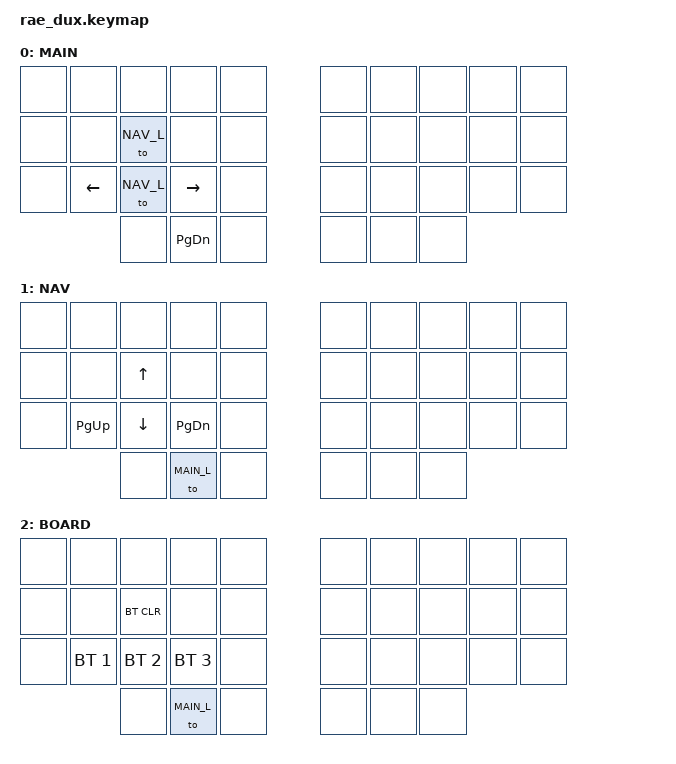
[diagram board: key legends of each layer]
/*
 * Copyright (c) 2021 The ZMK Contributors
 *
 * SPDX-License-Identifier: MIT
 */

#include <behaviors.dtsi>
#include <dt-bindings/zmk/bt.h>
#include <dt-bindings/zmk/keys.h>

&sk {
  release-after-ms = <750>;
  quick-release;
};

&sl {
  release-after-ms = <3000>;
};

&lt {
  flavor = "balanced";
};

&key_repeat {
  usage-pages = <HID_USAGE_KEY HID_USAGE_CONSUMER>;
};

#define MAIN_L   0
#define NAV_L    1
#define BOARD_L  2

/ {
  combos {
    compatible = "zmk,combos";

    // shortcut
    #define COMBO(NAME, BINDINGS, KEYPOS, TIMEOUT) \
      combo_##NAME { \
        timeout-ms = <TIMEOUT>; \
        bindings = <BINDINGS>; \
        key-positions = <KEYPOS>; \
      };

      /*                KEY POSITIONS

      ╭────────────────────╮ ╭────────────────────╮
      │  0   1   2   3   4 │ │  5   6   7   8   9 │
      │ 10  11  12  13  14 │ │ 15  16  17  18  19 │
      │ 20  21  22  23  24 │ │ 25  26  27  28  29 │
      ╰───────────╮ 30  31 │ │ 32  33  ╭──────────╯
                  ╰────────╯ ╰─────────╯           */

    COMBO(board_layer, &sl BOARD_L, 21 22 23, 100)
  };

  keymap {
    compatible = "zmk,keymap";

    // MAIN
    main_layer {
      label = "MAIN";
      bindings = <
    //╭──────────────────────────────────────────────────────────────────────────╮  ╭──────────────────────────────────────────────────────────────────────────╮
        &none           &none           &none           &none           &none           &none         &none           &none         &none           &none
        &none           &none           &to NAV_L       &none           &none           &none         &none           &none         &none           &none
        &none           &kp LEFT_ARROW  &to NAV_L       &kp RIGHT_ARROW &none           &none         &none           &none         &none           &none
    /*╰────────────────────────────╮*/  &none           &kp PAGE_DOWN   &none           &none         &none           &none     /*╭────────────────────────────╯*/
    //                             ╰─────────────────────────────────────────────╯  ╰─────────────────────────────────────────────╯
      >;  
    };

    // NAV
    nav_layer {
      label = "NAV";
      bindings = <
    //╭──────────────────────────────────────────────────────────────────────────╮  ╭──────────────────────────────────────────────────────────────────────────╮
        &none           &none           &none           &none           &none           &none         &none           &none         &none           &none
        &none           &none           &kp UP_ARROW    &none           &none           &none         &none           &none         &none           &none
        &none           &kp PAGE_UP     &kp DOWN_ARROW  &kp PAGE_DOWN   &none           &none         &none           &none         &none           &none
    /*╰────────────────────────────╮*/  &none           &to MAIN_L      &none           &none         &none           &none     /*╭────────────────────────────╯*/
    //                             ╰─────────────────────────────────────────────╯  ╰─────────────────────────────────────────────╯
      >;  
    };

    board_layer {
      label = "BOARD";
      bindings = <
    //╭──────────────────────────────────────────────────────────────────────────╮  ╭──────────────────────────────────────────────────────────────────────────╮
        &none           &none           &none           &none           &none           &none         &none           &none         &none           &none
        &none           &none           &bt BT_CLR      &none           &none           &none         &none           &none         &none           &none
        &none           &bt BT_SEL 1    &bt BT_SEL 2    &bt BT_SEL 3    &none           &none         &none           &none         &none           &none
    /*╰────────────────────────────╮*/  &none           &to MAIN_L      &none           &none         &none           &none     /*╭────────────────────────────╯*/
    //                             ╰─────────────────────────────────────────────╯  ╰─────────────────────────────────────────────╯
      >;  
    };
  };
};
